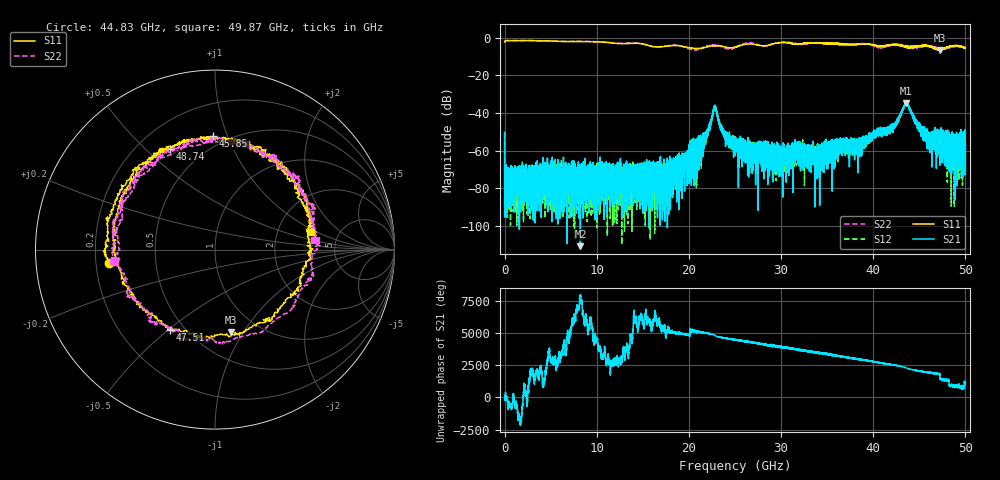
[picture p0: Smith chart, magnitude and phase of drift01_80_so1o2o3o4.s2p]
!Created with skrf (http://scikit-rf.org).
# Hz S RI R 50.0
!freq ReS11 ImS11 ReS21 ImS21 ReS12 ImS12 ReS22 ImS22
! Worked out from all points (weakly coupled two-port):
!   10001 points, 300 kHz to 50 GHz, reference 50 ohm
!   highest |S21| = -34.81 dB at 43.56 GHz (marker M1); lowest = -110.8 dB at 8.225 GHz (marker M2)
!   lowest |S11| = -6.6 dB at 47.24 GHz (marker M3), VSWR 2.78, Z = 37.4 - j44.3 ohm
!   |S11| at or under -10 dB: nowhere
!   |S22| runs from -6.4 to -1.4 dB; largest |S21 - S12| = 0.0049
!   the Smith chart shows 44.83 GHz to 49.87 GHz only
!   S11 on the Smith chart (normalised r, x): 44.83 GHz: 0.25, -0.06; 45.85 GHz: 0.42, +0.89; 47.51 GHz: 0.42, -0.51; 48.74 GHz: 0.33, +0.60; 49.87 GHz: 3.14, +0.85
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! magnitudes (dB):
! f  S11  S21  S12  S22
! 300 kHz  -2.1  -50.2  -50.4  -2.1
! 255.3 MHz  -1.4  -87.8  -77.2  -1.4
! 8.225 GHz  -1.9  -110.8  -73.2  -1.8
! 8.335 GHz  -1.9  -75.6  -76.6  -1.8
! 16.67 GHz  -4.8  -78.4  -71.8  -4.8
! 20.9 GHz  -5.6  -74.8  -60.6  -6.2
! 21.93 GHz  -4.8  -53.0  -50.6  -4.4
! 22.8 GHz  -4.3  -36.4  -36.1  -4.0
! 23.79 GHz  -4.7  -50.3  -50.8  -5.2
! 25 GHz  -5.0  -55.1  -56.0  -5.0
! 29.35 GHz  -3.0  -61.4  -61.6  -2.8
! 33.34 GHz  -2.6  -56.8  -63.2  -2.7
! 38.44 GHz  -3.4  -56.8  -55.5  -3.2
! 41.67 GHz  -3.9  -47.9  -48.7  -3.9
! 43.56 GHz  -4.8  -34.8  -35.3  -4.9
! 44.83 GHz  -4.5  -46.2  -46.0  -4.9
! 45.85 GHz  -4.0  -53.1  -53.1  -4.3
! 47.24 GHz  -6.6  -57.2  -52.2  -5.9
! 47.51 GHz  -5.8  -54.1  -52.0  -5.5
! 48.74 GHz  -4.2  -63.5  -61.7  -4.7
! 49.87 GHz  -5.3  -56.1  -60.7  -5.2
! 50 GHz  -5.4  -56.7  -56.1  -5.3
